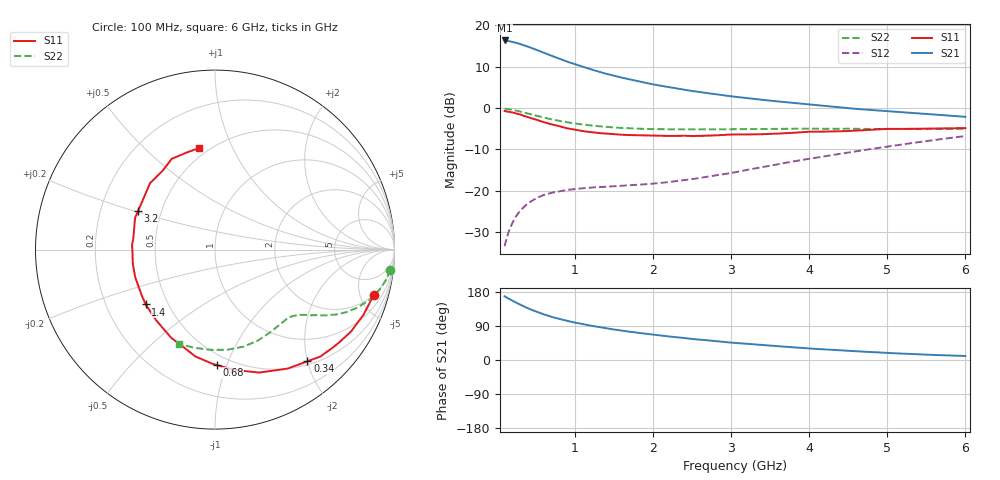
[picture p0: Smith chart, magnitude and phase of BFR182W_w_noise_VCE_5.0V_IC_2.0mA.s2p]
! Infineon Technologies  Discrete & RF Semiconductors
! BFR182W
! VCE =  5.0 V,  IC =  2.0 mA
! Common Emitter S-Parameters:  Nov 2015
# GHz  S  MA  R  50
!  f  S11  S21  S12  S22
! GHz  MAG  ANG  MAG  ANG  MAG  ANG  MAG  ANG
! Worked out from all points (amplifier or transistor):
!   192 points, 100 MHz to 6 GHz, reference 50 ohm
!   highest |S21| = 16.3 dB at 100 MHz (marker M1)
!   |S21| within 3 dB of that: start of sweep to 608.5 MHz
!   unconditionally stable (mu >= 1): 1.842 GHz to 3.133 GHz
!   at 440 MHz: K = 0.29, MSG = 18.5 dB, |S12| = -22.5 dB
!   at 1.7 GHz: K = 0.95, MSG = 12.8 dB, |S12| = -18.7 dB
!   at 6 GHz: K = 0.75, MSG = 2.3 dB, |S12| = -6.8 dB
!   lowest NFmin = 1.10 dB at 450 MHz
!   S11 on the Smith chart (normalised r, x): 100 MHz: 2.00, -6.57; 340 MHz: 0.56, -2.00; 680 MHz: 0.42, -0.92; 1.4 GHz: 0.38, -0.30; 3.2 GHz: 0.37, +0.20; 6 GHz: 0.45, +0.75
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0.1  0.9202 -15.9  6.538 168.1  0.0215 80.8  0.9825 -6.6
0.15  0.9033 -23.8  6.429 162.1  0.0316 77.0  0.9694 -9.8
0.2  0.8847 -31.1  6.298 156.5  0.041 72.6  0.9509 -12.7
0.26  0.8535 -39.8  6.08 150.1  0.0515 68.0  0.9244 -16.0
0.34  0.8075 -50.4  5.735 142.3  0.0629 62.7  0.8859 -19.6
0.4  0.7768 -58.6  5.509 136.2  0.0708 59.3  0.8566 -22.2
0.5  0.7277 -70.3  5.075 128.0  0.0809 54.1  0.8101 -25.5
0.6  0.6777 -81.2  4.664 120.6  0.0892 50.4  0.7671 -28.1
0.68  0.6432 -89.1  4.348 115.3  0.0936 48.0  0.7378 -29.6
0.8  0.605 -100.5  3.942 108.3  0.099 45.2  0.6985 -31.7
0.9  0.569 -108.3  3.629 103.3  0.1027 43.6  0.6722 -32.9
1.1  0.5272 -122.8  3.147 94.9  0.1074 42.1  0.6328 -35.2
1.2  0.5125 -129.8  2.93 90.6  0.1096 41.6  0.6153 -36.2
1.4  0.4923 -141.6  2.59 83.6  0.1121 42.1  0.5912 -38.0
1.72  0.4712 -157.3  2.195 74.2  0.117 45.0  0.5673 -40.9
2.08  0.4621 -172.7  1.871 65.0  0.1242 49.6  0.5547 -44.9
2.5  0.4592 172.7  1.604 55.4  0.1384 55.7  0.5519 -49.6
3.1  0.4786 156.0  1.351 44.4  0.1715 62.7  0.5545 -58.4
3.2  0.4793 153.5  1.319 42.9  0.1789 63.5  0.5553 -60.0
4.1  0.518 132.2  1.082 29.1  0.253 65.9  0.5622 -75.5
5.1  0.5598 113.6  0.903 17.7  0.3531 62.1  0.5576 -94.6
6  0.5724 98.9  0.783 10.6  0.4588 55.4  0.5624 -111.0
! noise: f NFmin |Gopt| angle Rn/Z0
0.45  1.1  0.42  29  0.36
0.9  1.2  0.4  58  0.3
1.8  1.85  0.32  126  0.22
